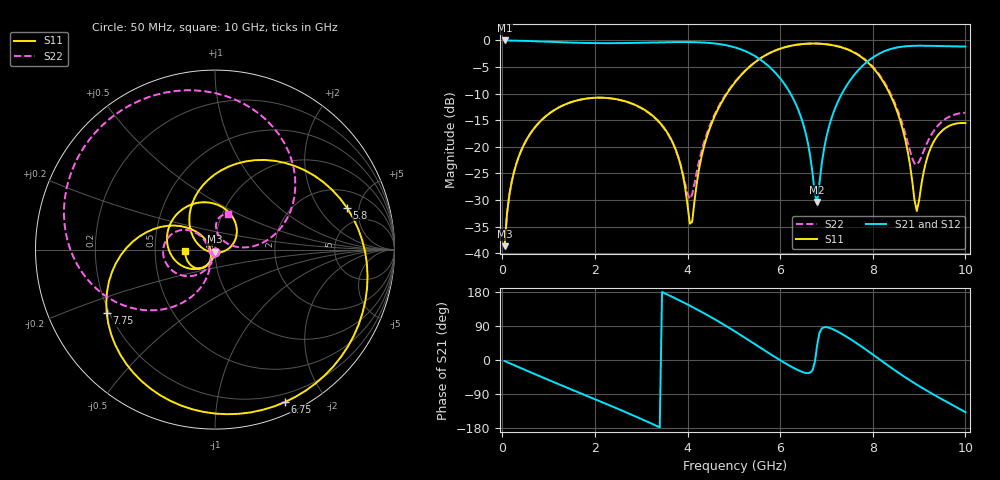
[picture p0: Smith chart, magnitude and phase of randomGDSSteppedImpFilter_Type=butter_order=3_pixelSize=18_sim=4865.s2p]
! freq	dB(S11)	phase(S11)	dB(S12)	phase(S12)
!  dB(S21)	phase(S21)	dB(S22)	phase(S22)
!S-par simulation data
#  GHz  S  DB  R 50
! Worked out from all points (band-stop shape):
!   200 points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, 50 MHz to 10 GHz, reference 50 ohm
!   highest |S21| = 0.00 dB at 50 MHz (marker M1); lowest = -30.4 dB at 6.8 GHz (marker M2)
!   |S21| within 3 dB of the highest: start of sweep to 5.468 GHz; 8.036 GHz to end of sweep
!   lowest |S11| = -38.7 dB at 50 MHz (marker M3), VSWR 1.02, Z = 49.9 - j1.16 ohm
!   |S11| at or under -10 dB: start of sweep to 4.85 GHz; 8.366 GHz to end of sweep
!   |S22| runs from -38.7 to -0.6 dB; largest |S21 - S12| = 0
!   S11 on the Smith chart (normalised r, x): 50 MHz: 1.00, -0.02; 5.8 GHz: 3.25, +3.74; 6.75 GHz: 0.12, -1.55; 7.75 GHz: 0.19, -0.26; 10 GHz: 0.71, -0.01
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0.05  -38.68 -92.9  -0.00 -2.7  -0.00 -2.7  -38.67 -92.0
0.2  -26.71 -102.7  -0.03 -10.7  -0.03 -10.7  -26.70 -98.9
0.5  -19.05 -121.9  -0.09 -26.6  -0.09 -26.6  -19.04 -112.3
1.75  -11.02 160.0  -0.46 -90.8  -0.46 -90.8  -11.02 -163.0
2.55  -11.20 107.6  -0.50 -131.6  -0.50 -131.6  -11.22 168.2
3.4  -15.45 44.4  -0.36 -177.7  -0.36 -177.7  -15.54 141.4
3.8  -21.91 6.3  -0.30 158.8  -0.30 158.8  -21.96 138.7
4.05  -34.45 -70.4  -0.31 143.3  -0.31 143.3  -29.80 -167.1
4.45  -17.26 151.0  -0.46 117.0  -0.46 117.0  -16.71 -106.0
5.05  -7.60 90.5  -1.37 73.4  -1.37 73.4  -7.47 -129.1
5.8  -2.26 17.6  -5.23 14.6  -5.23 14.6  -2.25 -173.8
6.4  -0.76 -36.1  -13.24 -27.5  -13.24 -27.5  -0.76 148.4
6.7  -0.58 -61.2  -25.04 -27.0  -25.04 -27.0  -0.58 129.5
6.75  -0.59 -65.3  -28.93 -4.8  -28.93 -4.8  -0.58 126.4
6.8  -0.60 -69.4  -30.39 39.9  -30.39 39.9  -0.59 123.2
7.1  -0.85 -94.0  -14.87 83.2  -14.87 83.2  -0.82 103.6
7.75  -3.11 -149.7  -5.03 36.2  -5.03 36.2  -2.99 57.0
8.35  -9.71 157.2  -1.71 -16.2  -1.71 -16.2  -9.40 13.8
8.7  -18.60 134.3  -1.10 -45.6  -1.10 -45.6  -17.46 5.7
8.95  -32.07 -167.8  -0.99 -65.0  -0.99 -65.0  -23.36 52.4
9.3  -19.29 -119.0  -1.03 -90.2  -1.03 -90.2  -17.23 87.6
10  -15.53 -176.8  -1.15 -137.5  -1.15 -137.5  -13.59 69.6
